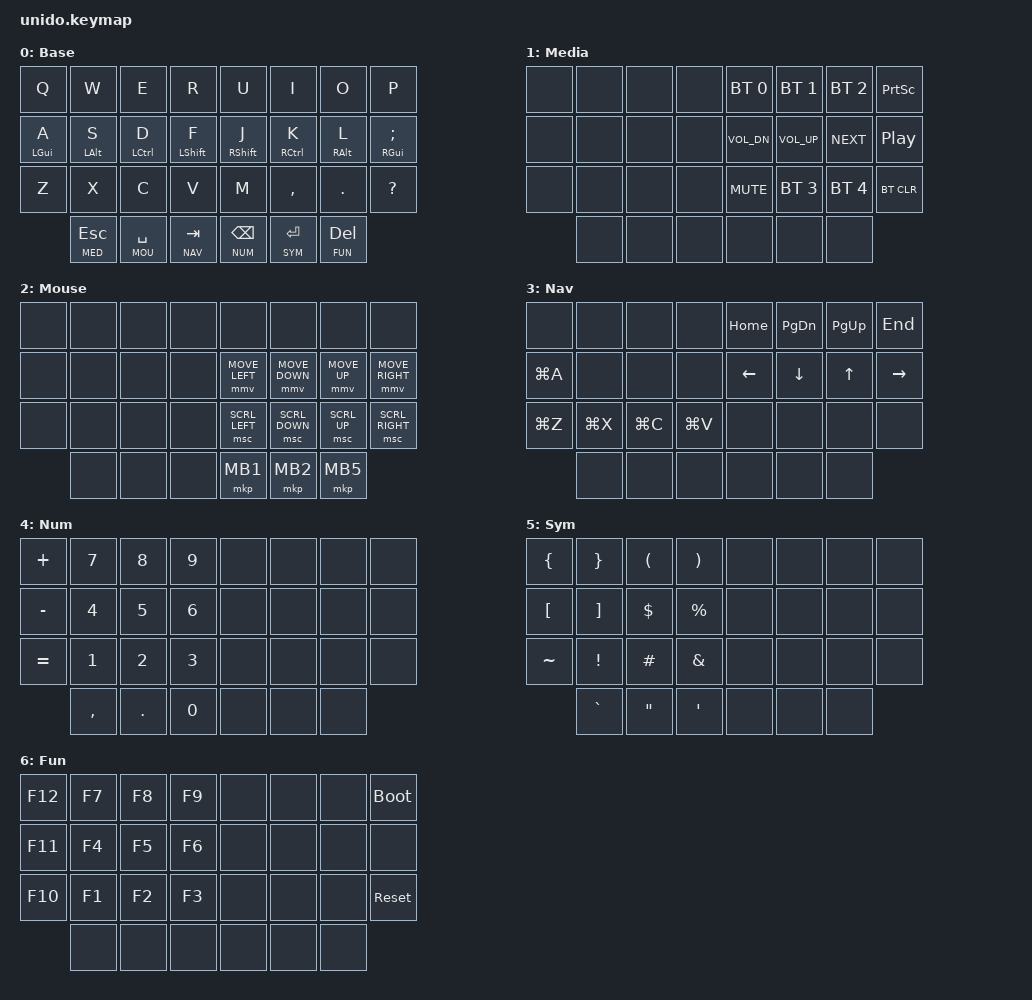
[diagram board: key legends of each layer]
/* unido.keymap — adaptado do layout Cheapino (Vial, estilo Miryoku) de 36 para 30 teclas.
 *
 * Posições:
 *    0  1  2  3 |  4  5  6  7
 *    8  9 10 11 | 12 13 14 15
 *   16 17 18 19 | 20 21 22 23
 *      24 25 26 | 27 28 29
 *
 * Polegares (toque / segurar): Esc/MED  Espaço/MOU  Tab/NAV | Bksp/NUM  Enter/SYM  Del/FUN
 *
 * A coluna interna do Cheapino (T G B / Y H N) virou combos HORIZONTAIS, iguais em todas as camadas:
 *   T = E+R   G = D+F   B = C+V      Y = U+I   H = J+K   N = M+,
 * Em cada camada o combo digita o que estava naquela posição no Cheapino (ex.: na SYM, R+F = @).
 * NAV e MOUSE: as setas/rolagem andaram uma coluna para fora (HJKL -> JKL;), sem perder nada.
 */
#include <behaviors.dtsi>
#include <dt-bindings/zmk/keys.h>
#include <dt-bindings/zmk/bt.h>
#include <dt-bindings/zmk/pointing.h>

#define BASE 0
#define MED  1
#define MOU  2
#define NAV  3
#define NUM  4
#define SYM  5
#define FUN  6

#define KEYS_L 0 1 2 3 8 9 10 11 16 17 18 19
#define KEYS_R 4 5 6 7 12 13 14 15 20 21 22 23
#define THUMBS 24 25 26 27 28 29

/* posições dos combos da coluna interna */
#define P_T 2 3
#define P_G 10 11
#define P_B 18 19
#define P_Y 4 5
#define P_H 12 13
#define P_N 20 21

#define COMBO(NAME, POS, BINDING, LAYERS) \
    combo_##NAME { timeout-ms = <50>; key-positions = <POS>; bindings = <BINDING>; layers = <LAYERS>; };

/ {
    behaviors {
        /* home row mods: só viram modificador com tecla da OUTRA mão (ou polegar),
           e nunca durante digitação rápida (require-prior-idle) */
        hml: home_row_mod_left {
            compatible = "zmk,behavior-hold-tap";
            #binding-cells = <2>;
            flavor = "balanced";
            tapping-term-ms = <280>;
            quick-tap-ms = <175>;
            require-prior-idle-ms = <150>;
            bindings = <&kp>, <&kp>;
            hold-trigger-key-positions = <KEYS_R THUMBS>;
            hold-trigger-on-release;
        };
        hmr: home_row_mod_right {
            compatible = "zmk,behavior-hold-tap";
            #binding-cells = <2>;
            flavor = "balanced";
            tapping-term-ms = <280>;
            quick-tap-ms = <175>;
            require-prior-idle-ms = <150>;
            bindings = <&kp>, <&kp>;
            hold-trigger-key-positions = <KEYS_L THUMBS>;
            hold-trigger-on-release;
        };
    };

    combos {
        compatible = "zmk,combos";

        /* letras da coluna interna */
        COMBO(t, P_T, &kp T, BASE)
        COMBO(g, P_G, &kp G, BASE)
        COMBO(b, P_B, &kp B, BASE)
        COMBO(y, P_Y, &kp Y, BASE)
        COMBO(h, P_H, &kp H, BASE)
        COMBO(n, P_N, &kp N, BASE)

        /* combos que já existiam no Cheapino */
        combo_esc { timeout-ms = <50>; require-prior-idle-ms = <150>; key-positions = <1 2>; bindings = <&kp ESC>;  layers = <BASE>; };
        combo_gui { timeout-ms = <50>; require-prior-idle-ms = <150>; key-positions = <8 9>; bindings = <&kp LGUI>; layers = <BASE>; };

        /* coluna interna das outras camadas */
        COMBO(med_h, P_H, &kp C_PREV, MED)
        COMBO(nav_b, P_B, &kp LG(LS(Z)), NAV)
        COMBO(num_t, P_T, &kp ASTRK, NUM)
        COMBO(num_g, P_G, &kp SLASH, NUM)
        COMBO(num_b, P_B, &kp BSLH, NUM)
        COMBO(sym_t, P_T, &kp AT, SYM)
        COMBO(sym_g, P_G, &kp CARET, SYM)
        COMBO(sym_b, P_B, &kp UNDER, SYM)
        COMBO(sym_y, P_Y, &kp PIPE, SYM)
        COMBO(fun_t, P_T, &kp PSCRN, FUN)
        COMBO(fun_g, P_G, &kp SLCK, FUN)
        COMBO(fun_b, P_B, &kp PAUSE_BREAK, FUN)
    };

    keymap {
        compatible = "zmk,keymap";

        base {
            display-name = "Base";
            bindings = <
    &kp Q            &kp W           &kp E            &kp R               &kp U             &kp I             &kp O            &kp P
    &hml LGUI A      &hml LALT S     &hml LCTRL D     &hml LSHFT F        &hmr RSHFT J      &hmr RCTRL K      &hmr RALT L      &hmr RGUI SEMI
    &kp Z            &kp X           &kp C            &kp V               &kp M             &kp COMMA         &kp DOT          &kp QMARK
                     &lt MED ESC     &lt MOU SPACE    &lt NAV TAB         &lt NUM BSPC      &lt SYM RET       &lt FUN DEL
            >;
        };

        media {
            display-name = "Media";
            bindings = <
    &none &none &none &none                    &bt BT_SEL 0   &bt BT_SEL 1   &bt BT_SEL 2   &kp PSCRN
    &none &none &none &none                    &kp C_VOL_DN   &kp C_VOL_UP   &kp C_NEXT     &kp C_PP
    &none &none &none &none                    &kp C_MUTE     &bt BT_SEL 3   &bt BT_SEL 4   &bt BT_CLR
          &none &none &none                    &none &none &none
            >;
        };

        mouse {
            display-name = "Mouse";
            bindings = <
    &none &none &none &none                    &none            &none            &none          &none
    &none &none &none &none                    &mmv MOVE_LEFT   &mmv MOVE_DOWN   &mmv MOVE_UP   &mmv MOVE_RIGHT
    &none &none &none &none                    &msc SCRL_LEFT   &msc SCRL_DOWN   &msc SCRL_UP   &msc SCRL_RIGHT
          &none &none &none                    &mkp MB1 &mkp MB2 &mkp MB5
            >;
        };

        nav {
            display-name = "Nav";
            bindings = <
    &none       &none       &none       &none              &kp HOME   &kp PG_DN   &kp PG_UP   &kp END
    &kp LG(A)   &none       &none       &none              &kp LEFT   &kp DOWN    &kp UP      &kp RIGHT
    &kp LG(Z)   &kp LG(X)   &kp LG(C)   &kp LG(V)          &none      &none       &none       &none
                &none       &none       &none              &none &none &none
            >;
        };

        num {
            display-name = "Num";
            bindings = <
    &kp PLUS    &kp N7   &kp N8   &kp N9                   &none &none &none &none
    &kp MINUS   &kp N4   &kp N5   &kp N6                   &none &none &none &none
    &kp EQUAL   &kp N1   &kp N2   &kp N3                   &none &none &none &none
                &kp COMMA &kp DOT &kp N0                   &none &none &none
            >;
        };

        sym {
            display-name = "Sym";
            bindings = <
    &kp LBRC    &kp RBRC   &kp LPAR   &kp RPAR             &none &none &none &none
    &kp LBKT    &kp RBKT   &kp DLLR   &kp PRCNT            &none &none &none &none
    &kp TILDE   &kp EXCL   &kp HASH   &kp AMPS             &none &none &none &none
                &kp GRAVE  &kp DQT    &kp SQT              &none &none &none
            >;
        };

        fun {
            display-name = "Fun";
            bindings = <
    &kp F12   &kp F7   &kp F8   &kp F9                     &none &none &none &bootloader
    &kp F11   &kp F4   &kp F5   &kp F6                     &none &none &none &none
    &kp F10   &kp F1   &kp F2   &kp F3                     &none &none &none &sys_reset
              &none    &none    &none                      &none &none &none
            >;
        };
    };
};
